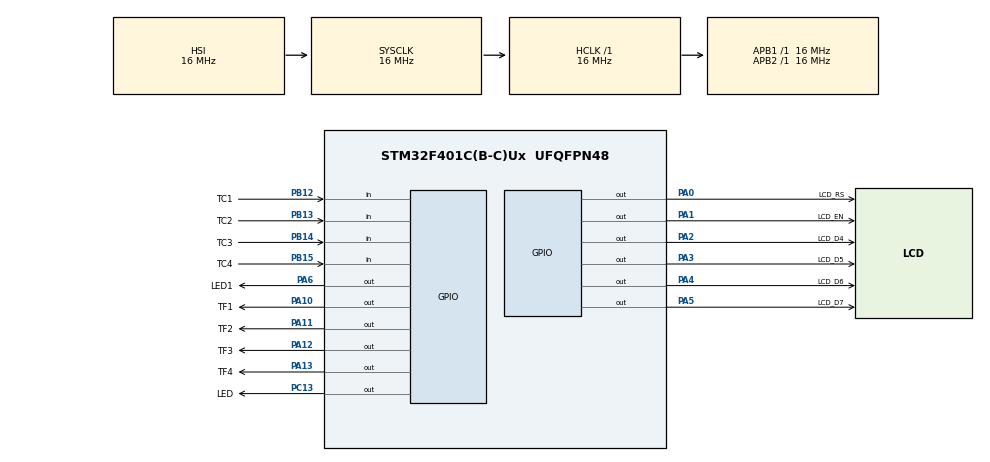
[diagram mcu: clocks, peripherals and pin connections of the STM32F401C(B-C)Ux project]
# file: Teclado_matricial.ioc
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Mcu.Family=STM32F4
Mcu.Name=STM32F401C(B-C)Ux
Mcu.Package=UFQFPN48
NVIC.PriorityGroup=NVIC_PRIORITYGROUP_4
PA0-WKUP.GPIO_Label=LCD_RS
PA0-WKUP.Signal=GPIO_Output
PA1.GPIO_Label=LCD_EN
PA1.Signal=GPIO_Output
PA10.GPIO_Label=TF1
PA10.Signal=GPIO_Output
PA11.GPIO_Label=TF2
PA11.Signal=GPIO_Output
PA12.GPIO_Label=TF3
PA12.Signal=GPIO_Output
PA13.GPIO_Label=TF4
PA13.Signal=GPIO_Output
PA2.GPIO_Label=LCD_D4
PA2.Signal=GPIO_Output
PA3.GPIO_Label=LCD_D5
PA3.Signal=GPIO_Output
PA4.GPIO_Label=LCD_D6
PA4.Signal=GPIO_Output
PA5.GPIO_Label=LCD_D7
PA5.Signal=GPIO_Output
PA6.GPIO_Label=LED1
PA6.Signal=GPIO_Output
PB12.GPIO_Label=TC1
PB12.GPIO_PuPd=GPIO_PULLDOWN
PB12.Signal=GPIO_Input
PB13.GPIO_Label=TC2
PB13.GPIO_PuPd=GPIO_PULLDOWN
PB13.Signal=GPIO_Input
PB14.GPIO_Label=TC3
PB14.GPIO_PuPd=GPIO_PULLDOWN
PB14.Signal=GPIO_Input
PB15.GPIO_Label=TC4
PB15.GPIO_PuPd=GPIO_PULLDOWN
PB15.Signal=GPIO_Input
PC13-ANTI_TAMP.GPIO_Label=LED
PC13-ANTI_TAMP.Signal=GPIO_Output
ProjectManager.HeapSize=0x200
ProjectManager.StackSize=0x400
ProjectManager.TargetToolchain=STM32CubeIDE
RCC.AHBFreq_Value=16000000
RCC.APB1Freq_Value=16000000
RCC.APB2Freq_Value=16000000
RCC.CortexFreq_Value=16000000
RCC.HSE_VALUE=25000000
RCC.HSI_VALUE=16000000
RCC.LSE_VALUE=32768
RCC.SYSCLKFreq_VALUE=16000000
RCC.VCOOutputFreq_Value=192000000
board=custom

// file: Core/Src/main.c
/* USER CODE BEGIN Header */
/**
  ******************************************************************************
  * @file           : main.c
  * @brief          : Main program body
  ******************************************************************************
  * @attention
  *
  * Copyright (c) 2023 STMicroelectronics.
  * All rights reserved.
  *
  * This software is licensed under terms that can be found in the LICENSE file
  * in the root directory of this software component.
  * If no LICENSE file comes with this software, it is provided AS-IS.
  *
  ******************************************************************************
  */
/* USER CODE END Header */
#include "main.h"

/* USER CODE BEGIN Includes */

#include "lcd.h"
#include "delays.h"
#include "Teclado.h"

#include "stdio.h"
#include "string.h"
#include "stdint.h"

#include	<ctype.h>

/* USER CODE END Includes */

/* USER CODE BEGIN PV */
uint8_t tecla;
char texto[30];
extern uint16_t retardo;

/* USER CODE END PV */

void SystemClock_Config(void);
static void MX_GPIO_Init(void);

int main(void)
{

  /* MCU Configuration--------------------------------------------------------*/

  /* Reset of all peripherals, Initializes the Flash interface and the Systick. */
  HAL_Init();

  /* Configure the system clock */
  SystemClock_Config();

  /* Initialize all configured peripherals */
  MX_GPIO_Init();
  /* USER CODE BEGIN 2 */
  Lcd_Init();
  Lcd_Cmd(_LCD_CLEAR);
  Lcd_Cmd(_LCD_CURSOR_OFF);
  Lcd_Text(1, 1, "    TECLADO");
  Lcd_Text(2, 1, "Tecla=");
  teclado_init();

  /* USER CODE END 2 */

  /* Infinite loop */
  /* USER CODE BEGIN WHILE */
  while (1)
  {
	/* tecla=tecla_presionada();
    sprintf(texto,"Tecla=%02u",tecla);
    Lcd_Text(2, 1, texto);
*/

   //teclado_estado();
    teclado_retardo(retardo);

	  HAL_GPIO_TogglePin(LED_GPIO_Port, LED_Pin);
   HAL_Delay(retardo);

    /* USER CODE END WHILE */

  }
}

void SystemClock_Config(void)
{
  RCC_OscInitTypeDef RCC_OscInitStruct = {0};
  RCC_ClkInitTypeDef RCC_ClkInitStruct = {0};

  /** Configure the main internal regulator output voltage
  */
  __HAL_RCC_PWR_CLK_ENABLE();
  __HAL_PWR_VOLTAGESCALING_CONFIG(PWR_REGULATOR_VOLTAGE_SCALE2);

  /** Initializes the RCC Oscillators according to the specified parameters
  * in the RCC_OscInitTypeDef structure.
  */
  RCC_OscInitStruct.OscillatorType = RCC_OSCILLATORTYPE_HSI;
  RCC_OscInitStruct.HSIState = RCC_HSI_ON;
  RCC_OscInitStruct.HSICalibrationValue = RCC_HSICALIBRATION_DEFAULT;
  RCC_OscInitStruct.PLL.PLLState = RCC_PLL_NONE;
  if (HAL_RCC_OscConfig(&RCC_OscInitStruct) != HAL_OK)
  {
    Error_Handler();
  }

  /** Initializes the CPU, AHB and APB buses clocks
  */
  RCC_ClkInitStruct.ClockType = RCC_CLOCKTYPE_HCLK|RCC_CLOCKTYPE_SYSCLK
                              |RCC_CLOCKTYPE_PCLK1|RCC_CLOCKTYPE_PCLK2;
  RCC_ClkInitStruct.SYSCLKSource = RCC_SYSCLKSOURCE_HSI;
  RCC_ClkInitStruct.AHBCLKDivider = RCC_SYSCLK_DIV1;
  RCC_ClkInitStruct.APB1CLKDivider = RCC_HCLK_DIV1;
  RCC_ClkInitStruct.APB2CLKDivider = RCC_HCLK_DIV1;

  if (HAL_RCC_ClockConfig(&RCC_ClkInitStruct, FLASH_LATENCY_0) != HAL_OK)
  {
    Error_Handler();
  }
}

static void MX_GPIO_Init(void)
{
  GPIO_InitTypeDef GPIO_InitStruct = {0};

  /* GPIO Ports Clock Enable */
  __HAL_RCC_GPIOC_CLK_ENABLE();
  __HAL_RCC_GPIOA_CLK_ENABLE();
  __HAL_RCC_GPIOB_CLK_ENABLE();

  /*Configure GPIO pin Output Level */
  HAL_GPIO_WritePin(LED_GPIO_Port, LED_Pin, GPIO_PIN_RESET);

  /*Configure GPIO pin Output Level */
  HAL_GPIO_WritePin(GPIOA, LCD_RS_Pin|LCD_EN_Pin|LCD_D4_Pin|LCD_D5_Pin
                          |LCD_D6_Pin|LCD_D7_Pin|LED1_Pin|TF1_Pin
                          |TF2_Pin|TF3_Pin|TF4_Pin, GPIO_PIN_RESET);

  /*Configure GPIO pin : LED_Pin */
  GPIO_InitStruct.Pin = LED_Pin;
  GPIO_InitStruct.Mode = GPIO_MODE_OUTPUT_PP;
  GPIO_InitStruct.Pull = GPIO_NOPULL;
  GPIO_InitStruct.Speed = GPIO_SPEED_FREQ_LOW;
  HAL_GPIO_Init(LED_GPIO_Port, &GPIO_InitStruct);

  /*Configure GPIO pins : LCD_RS_Pin LCD_EN_Pin LCD_D4_Pin LCD_D5_Pin
                           LCD_D6_Pin LCD_D7_Pin LED1_Pin TF1_Pin
                           TF2_Pin TF3_Pin TF4_Pin */
  GPIO_InitStruct.Pin = LCD_RS_Pin|LCD_EN_Pin|LCD_D4_Pin|LCD_D5_Pin
                          |LCD_D6_Pin|LCD_D7_Pin|LED1_Pin|TF1_Pin
                          |TF2_Pin|TF3_Pin|TF4_Pin;
  GPIO_InitStruct.Mode = GPIO_MODE_OUTPUT_PP;
  GPIO_InitStruct.Pull = GPIO_NOPULL;
  GPIO_InitStruct.Speed = GPIO_SPEED_FREQ_LOW;
  HAL_GPIO_Init(GPIOA, &GPIO_InitStruct);

  /*Configure GPIO pins : TC1_Pin TC2_Pin TC3_Pin TC4_Pin */
  GPIO_InitStruct.Pin = TC1_Pin|TC2_Pin|TC3_Pin|TC4_Pin;
  GPIO_InitStruct.Mode = GPIO_MODE_INPUT;
  GPIO_InitStruct.Pull = GPIO_PULLDOWN;
  HAL_GPIO_Init(GPIOB, &GPIO_InitStruct);

}

void Error_Handler(void)
{
  __disable_irq();
  while (1)
  {
  }
}
